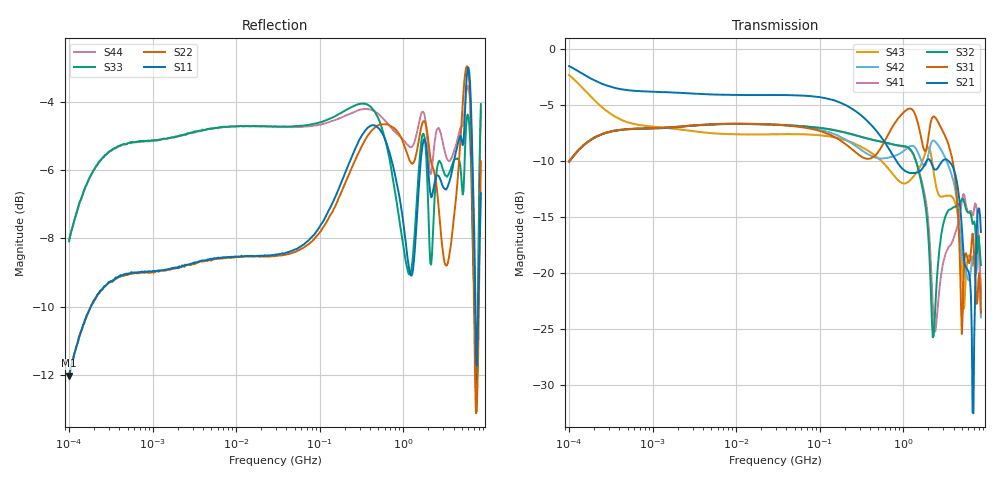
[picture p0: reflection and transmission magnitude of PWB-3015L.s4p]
# MHz S MA R 50
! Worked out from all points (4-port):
!   498 points, 100 kHz to 8.5 GHz, reference 50 ohm
!   strongest paths, dB at 100 kHz, 1.698 MHz, 29.49 MHz, 500.7 MHz, 8.5 GHz:
!     S21: -1.5, -3.9, -4.1, -7.5, -16.3
!     S31: -10.1, -7.0, -6.8, -9.2, -23.6
!     S32: -10.1, -7.0, -6.8, -8.2, -19.3
!     S41: -10.1, -7.0, -6.7, -8.2, -21.6
!     S42: -10.0, -7.0, -6.8, -9.8, -24.0
!     S43: -2.3, -7.1, -7.6, -9.7, -22.3
!   lowest |S11| = -12.0 dB at 100 kHz (marker M1), VSWR 1.67, Z = 66.2 + j25 ohm
!   |S11| at or under -10 dB: start of sweep to 182.9 kHz; 7.318 GHz to 7.875 GHz (557.4 MHz wide, 7.34 % of centre)
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0.1  0.2504 44.9  0.8376 -12.2  0.314 45.2  0.313 -134.9
     0.8376 -12.2  0.2517 46.1  0.3144 -135.3  0.3151 44.4
     0.314 45.2  0.3144 -135.3  0.3941 44.0  0.7645 -21.2
     0.313 -134.9  0.3151 44.4  0.7645 -21.2  0.3967 44.2
324.4107  0.5647 -25.0  0.4995 -79.3  0.3284 -34.1  0.4038 94.6
          0.4995 -79.3  0.5455 -20.9  0.403 92.8  0.3512 -42.7
          0.3284 -34.1  0.403 92.8  0.627 -37.5  0.3631 -75.2
          0.4038 94.6  0.3512 -42.7  0.3631 -75.2  0.6154 -32.2
1039.755  0.4046 -122.6  0.2861 122.8  0.5263 -97.4  0.3647 -55.0
          0.2861 122.8  0.5424 -112.3  0.368 -55.7  0.3534 -102.1
          0.5263 -97.4  0.368 -55.7  0.3763 -122.5  0.2507 118.4
          0.3647 -55.0  0.3534 -102.1  0.2507 118.4  0.5522 -110.7
2592.178  0.492 176.9  0.2945 177.4  0.4747 88.3  0.07085 -132.0
          0.2945 177.4  0.456 165.6  0.1064 -149.9  0.3734 90.8
          0.4747 88.3  0.1064 -149.9  0.5104 -176.6  0.2284 165.3
          0.07085 -132.0  0.3734 90.8  0.2284 165.3  0.577 176.0
4092.906  0.52 22.6  0.2852 -15.1  0.2832 -96.4  0.1458 28.8
          0.2852 -15.1  0.4326 20.2  0.1971 8.9  0.2465 -85.7
          0.2832 -96.4  0.1971 8.9  0.5189 11.7  0.2105 -0.4
          0.1458 28.8  0.2465 -85.7  0.2105 -0.4  0.5366 8.6
6611.76  0.5695 -163.5  0.05544 80.5  0.1382 42.7  0.1858 107.9
         0.05544 80.5  0.5201 -166.8  0.1741 96.9  0.1118 34.5
         0.1382 42.7  0.1741 96.9  0.4622 -157.6  0.111 144.7
         0.1858 107.9  0.1118 34.5  0.111 144.7  0.5429 -146.2
8500  0.4633 -58.9  0.1522 -81.8  0.06635 -174.1  0.0835 -126.4
      0.1522 -81.8  0.5159 -49.1  0.1085 -108.0  0.06332 143.8
      0.06635 -174.1  0.1085 -108.0  0.6261 -46.3  0.07695 -64.5
      0.0835 -126.4  0.06332 143.8  0.07695 -64.5  0.6136 -45.4
